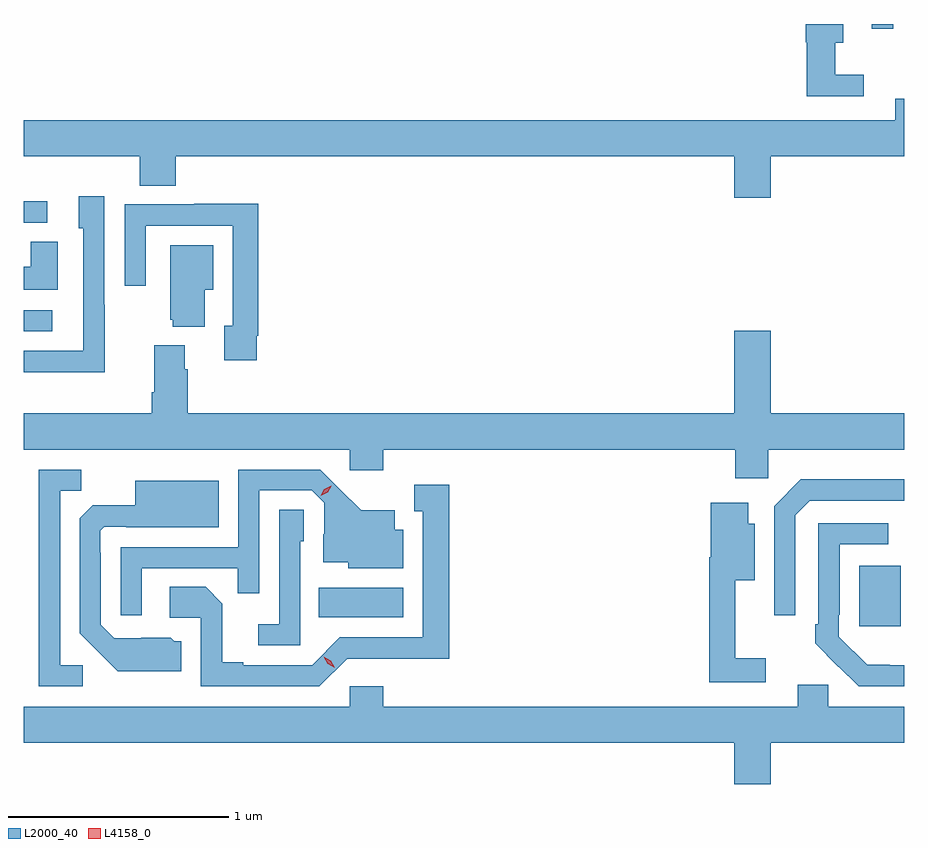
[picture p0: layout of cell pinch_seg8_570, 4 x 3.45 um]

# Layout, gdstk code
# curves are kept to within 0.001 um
import gdstk
lib = gdstk.Library(unit=1e-6, precision=1e-09)
def R(c, l, rs):  # rectangles x0, y0, x1, y1
    for r in rs: c.add(gdstk.rectangle(r[:2], r[2:], *l))
def P(c, l, *ps):  # polygons
    for p in ps: c.add(gdstk.Polygon(p, *l))
L2000_40 = (2000, 40)
L4158_0 = (4158, 0)

pinch_seg8_570 = lib.new_cell('pinch_seg8_570')
R(pinch_seg8_570, L2000_40, [(165.575,1083.729,165.763,1084.003), (163.12,1083.77,163.504,1083.904), (161.779,1085.07,161.908,1085.166), (161.779,1085.562,161.884,1085.66), (165.633,1086.444,165.729,1086.466)])
P(pinch_seg8_570, L2000_40, [(165.595,1086.235),(165.466,1086.235),(165.466,1086.38),(165.502,1086.38),(165.502,1086.466),(165.332,1086.466),(165.332,1086.384),(165.337,1086.384),(165.337,1086.138),(165.595,1086.138)],
  [(165.172,1085.864),(165.779,1085.864),(165.779,1086.126),(165.74,1086.126),(165.74,1086.028),(161.779,1086.028),(161.779,1085.864),(162.305,1085.864),(162.305,1085.731),(162.47,1085.731),(162.47,1085.864),(165.008,1085.864),(165.008,1085.676),(165.172,1085.676)],
  [(162.147,1085.189),(162.144,1085.189),(162.144,1085.683),(162.029,1085.683),(162.029,1085.538),(162.048,1085.538),(162.048,1084.98),(161.779,1084.98),(161.779,1084.883),(162.147,1084.883)],
  [(162.838,1085.05),(162.845,1085.05),(162.845,1085.648),(162.553,1085.648),(162.553,1085.646),(162.237,1085.646),(162.237,1085.277),(162.333,1085.277),(162.333,1085.55),(162.729,1085.55),(162.729,1085.094),(162.689,1085.094),(162.689,1084.938),(162.838,1084.938)],
  [(161.932,1085.477),(161.811,1085.477),(161.811,1085.362),(161.779,1085.362),(161.779,1085.258),(161.932,1085.258)],
  [(162.601,1085.258),(162.64,1085.258),(162.64,1085.461),(162.443,1085.461),(162.443,1085.121),(162.455,1085.121),(162.455,1085.09),(162.601,1085.09)],
  [(165.162,1084.532),(165.779,1084.532),(165.779,1084.696),(165.172,1084.696),(165.172,1085.071),(165.008,1085.071),(165.008,1084.696),(162.524,1084.696),(162.524,1084.898),(162.511,1084.898),(162.511,1085.005),(162.371,1085.005),(162.371,1084.792),(162.359,1084.792),(162.359,1084.696),(161.779,1084.696),(161.779,1084.532),(163.26,1084.532),(163.26,1084.437),(163.412,1084.437),(163.412,1084.532),(165.011,1084.532),(165.011,1084.401),(165.162,1084.401)],
  [(162.315,1083.993),(162.751,1083.993),(162.751,1083.88),(162.849,1083.88),(162.849,1084.347),(163.086,1084.347),(163.143,1084.29),(163.143,1084.148),(163.139,1084.148),(163.139,1084.019),(163.254,1084.019),(163.254,1083.992),(163.504,1083.992),(163.504,1084.168),(163.465,1084.168),(163.465,1084.255),(163.313,1084.255),(163.126,1084.44),(162.753,1084.44),(162.753,1084.089),(162.219,1084.089),(162.219,1083.78),(162.315,1083.78)],
  [(162.046,1083.552),(161.943,1083.552),(161.943,1084.345),(162.039,1084.345),(162.039,1084.44),(161.847,1084.44),(161.847,1083.456),(162.046,1083.456)],
  [(165.285,1084.233),(165.351,1084.299),(165.779,1084.299),(165.779,1084.396),(165.31,1084.396),(165.189,1084.275),(165.189,1083.78),(165.285,1083.78)],
  [(162.493,1083.66),(162.462,1083.66),(162.446,1083.676),(162.189,1083.675),(162.129,1083.735),(162.129,1084.064),(162.126,1084.064),(162.126,1084.164),(162.144,1084.182),(162.244,1084.182),(162.244,1084.178),(162.664,1084.178),(162.664,1084.39),(162.284,1084.39),(162.284,1084.279),(162.092,1084.279),(162.033,1084.22),(162.033,1083.698),(162.205,1083.524),(162.493,1083.524)],
  [(163.248,1083.582),(163.711,1083.581),(163.711,1084.372),(163.553,1084.372),(163.553,1084.251),(163.592,1084.251),(163.592,1083.678),(163.215,1083.678),(163.089,1083.552),(162.775,1083.552),(162.775,1083.565),(162.681,1083.565),(162.681,1083.832),(162.605,1083.908),(162.441,1083.908),(162.441,1083.768),(162.582,1083.768),(162.582,1083.456),(163.122,1083.456)],
  [(165.151,1083.583),(165.011,1083.583),(165.011,1083.938),(165.1,1083.938),(165.1,1084.195),(165.07,1084.195),(165.07,1084.291),(164.9,1084.291),(164.9,1084.042),(164.893,1084.042),(164.893,1083.474),(165.151,1083.474)],
  [(163.035,1084.116),(163.05,1084.116),(163.05,1084.259),(162.939,1084.259),(162.939,1083.739),(162.843,1083.739),(162.843,1083.642),(163.035,1083.642)],
  [(165.779,1083.552),(165.612,1083.553),(165.483,1083.681),(165.483,1083.781),(165.486,1083.781),(165.486,1084.101),(165.706,1084.101),(165.706,1084.197),(165.39,1084.197),(165.39,1083.739),(165.375,1083.739),(165.375,1083.651),(165.572,1083.456),(165.779,1083.456)],
  [(165.172,1083.2),(165.779,1083.2),(165.779,1083.364),(165.435,1083.364),(165.435,1083.462),(165.296,1083.462),(165.296,1083.364),(163.412,1083.364),(163.412,1083.457),(163.26,1083.457),(163.26,1083.364),(161.779,1083.364),(161.779,1083.2),(165.008,1083.2),(165.008,1083.012),(165.172,1083.012)])
P(pinch_seg8_570, L4158_0, [(163.191,1083.54),(163.16,1083.559),(163.142,1083.591),(163.142,1083.591),(163.142,1083.591),(163.174,1083.573),(163.192,1083.54),(163.192,1083.54)],
  [(163.128,1084.321),(163.128,1084.321),(163.145,1084.351),(163.176,1084.367),(163.176,1084.367),(163.176,1084.366),(163.159,1084.337),(163.129,1084.321)])

lib.write_gds('pinch_seg8_570.gds')
